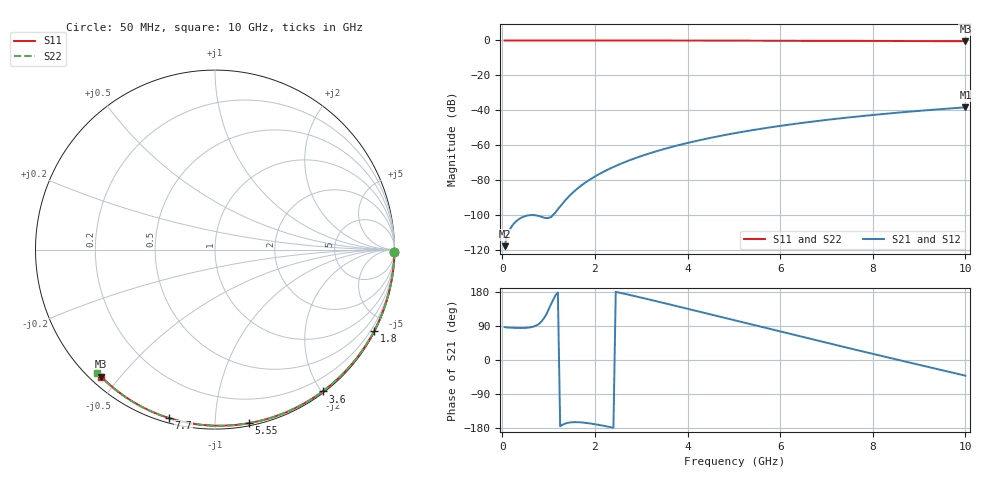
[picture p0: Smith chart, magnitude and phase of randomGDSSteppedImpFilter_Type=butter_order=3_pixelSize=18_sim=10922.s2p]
! freq	dB(S11)	phase(S11)	dB(S12)	phase(S12)
!  dB(S21)	phase(S21)	dB(S22)	phase(S22)
!S-par simulation data
#  GHz  S  DB  R 50
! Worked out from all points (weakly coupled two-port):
!   200 points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, 50 MHz to 10 GHz, reference 50 ohm
!   highest |S21| = -38.30 dB at 10 GHz (marker M1); lowest = -117.8 dB at 50 MHz (marker M2)
!   lowest |S11| = -0.4 dB at 10 GHz (marker M3), VSWR 38.91, Z = 1.54 - j22.3 ohm
!   |S11| at or under -10 dB: nowhere
!   |S22| runs from -0.4 to 0.0 dB; largest |S21 - S12| = 0
!   S11 on the Smith chart (normalised r, x): 50 MHz: open; 1.8 GHz: 0.04, -4.16; 3.6 GHz: 0.02, -2.01; 5.55 GHz: 0.02, -1.22; 7.7 GHz: 0.02, -0.76; 10 GHz: 0.03, -0.45
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0.05  -0.00 -0.8  -117.77 86.8  -117.77 86.8  -0.00 -0.8
0.45  -0.01 -6.9  -100.99 84.5  -100.99 84.5  -0.01 -6.9
0.9  -0.02 -13.6  -101.44 110.5  -101.44 110.5  -0.02 -13.8
1.75  -0.03 -26.3  -82.18 -165.2  -82.18 -165.2  -0.03 -26.6
1.8  -0.03 -27.0  -81.24 -165.8  -81.24 -165.8  -0.03 -27.4
1.85  -0.04 -27.8  -80.35 -166.6  -80.35 -166.6  -0.04 -28.1
1.9  -0.04 -28.5  -79.49 -167.5  -79.49 -167.5  -0.04 -28.9
2.05  -0.04 -30.7  -77.11 -170.4  -77.11 -170.4  -0.04 -31.1
2.25  -0.04 -33.6  -74.31 -175.1  -74.31 -175.1  -0.04 -34.1
2.65  -0.05 -39.4  -69.61 174.5  -69.61 174.5  -0.05 -39.9
3  -0.06 -44.4  -66.20 164.6  -66.20 164.6  -0.06 -45.0
3.4  -0.07 -50.0  -62.86 153.0  -62.86 153.0  -0.07 -50.7
3.6  -0.07 -52.8  -61.37 147.1  -61.37 147.1  -0.07 -53.5
4.3  -0.09 -62.4  -56.86 126.2  -56.86 126.2  -0.09 -63.3
5.05  -0.11 -72.4  -52.94 103.6  -52.94 103.6  -0.11 -73.4
5.55  -0.13 -78.9  -50.71 88.6  -50.71 88.6  -0.13 -80.0
6.1  -0.15 -85.9  -48.54 72.1  -48.54 72.1  -0.15 -87.0
6.7  -0.18 -93.3  -46.45 54.3  -46.45 54.3  -0.18 -94.6
7.7  -0.24 -105.4  -43.46 24.9  -43.46 24.9  -0.24 -106.8
8.35  -0.29 -113.0  -41.79 6.1  -41.79 6.1  -0.29 -114.6
9.15  -0.36 -122.2  -39.98 -17.0  -39.98 -17.0  -0.36 -124.0
10  -0.45 -131.8  -38.30 -41.3  -38.30 -41.3  -0.45 -133.9
